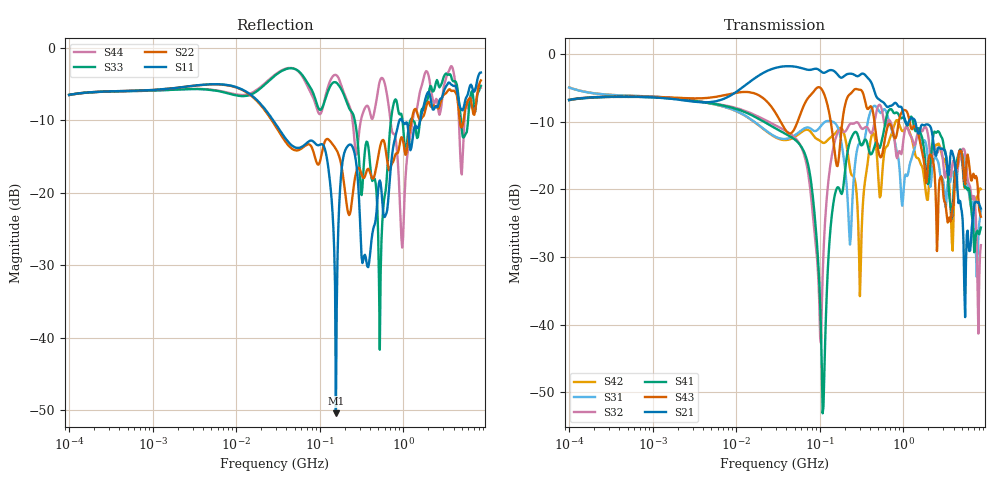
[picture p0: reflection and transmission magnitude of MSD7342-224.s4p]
# MHz S MA R 50
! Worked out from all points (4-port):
!   498 points, 100 kHz to 8.5 GHz, reference 50 ohm
!   strongest paths, dB at 100 kHz, 1.698 MHz, 29.49 MHz, 500.7 MHz, 8.5 GHz:
!     S21: -6.7, -6.6, -2.0, -6.6, -22.8
!     S43: -6.7, -6.4, -8.6, -14.1, -24.0
!     S41: -6.8, -6.5, -10.9, -13.5, -25.6
!     S32: -6.8, -6.5, -10.5, -7.7, -28.2
!     S31: -4.9, -6.4, -12.2, -8.2, -23.1
!     S42: -4.9, -6.5, -12.3, -17.7, -20.0
!   lowest |S11| = -50.5 dB at 156.2 MHz (marker M1), VSWR 1.01, Z = 50.1 - j0.289 ohm
!   |S11| at or under -10 dB: 27.8 MHz to 899.7 MHz (871.9 MHz wide, 188 % of centre); 967.8 MHz to 1.597 GHz (629 MHz wide, 49 % of centre)
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0.1  0.4743 18.9  0.4605 19.4  0.568 -16.4  0.4582 -161.5
     0.4605 19.4  0.4745 18.9  0.4588 -161.5  0.5694 -16.4
     0.568 -16.4  0.4588 -161.5  0.4744 18.9  0.4607 19.2
     0.4582 -161.5  0.5694 -16.4  0.4607 19.2  0.4732 18.8
55.89621  0.2043 -36.7  0.8012 -9.6  0.2641 130.9  0.2201 -20.6
          0.8012 -9.6  0.1971 -39.3  0.2236 -17.5  0.2563 131.3
          0.2641 130.9  0.2236 -17.5  0.6923 -27.2  0.3327 8.5
          0.2201 -20.6  0.2563 131.3  0.3327 8.5  0.6871 -26.0
110.9003  0.2123 -67.3  0.7299 -23.6  0.3098 47.3  0.002471 129.7
          0.7299 -23.6  0.211 -44.8  0.03382 128.5  0.2211 42.4
          0.3098 47.3  0.03382 128.5  0.4061 -26.3  0.522 -40.1
          0.002471 129.7  0.2211 42.4  0.522 -40.1  0.4049 -11.8
156.2097  0.003002 -74.0  0.7321 -36.2  0.3046 -3.9  0.09793 70.7
          0.7321 -36.2  0.2009 -104.4  0.2426 58.8  0.2634 11.4
          0.3046 -3.9  0.2426 58.8  0.5788 -49.9  0.1612 -41.8
          0.09793 70.7  0.2634 11.4  0.1612 -41.8  0.6516 -39.0
524.0594  0.1219 -22.5  0.4596 -105.5  0.3729 -68.9  0.2032 -31.6
          0.4596 -105.5  0.2046 -13.7  0.4232 -66.7  0.08739 -54.1
          0.3729 -68.9  0.4232 -66.7  0.008253 -44.8  0.1757 -98.6
          0.2032 -31.6  0.08739 -54.1  0.1757 -98.6  0.5909 -80.8
1970.81  0.4947 121.2  0.3026 64.1  0.1663 52.8  0.1096 78.1
         0.3026 64.1  0.4242 120.4  0.258 58.3  0.08384 92.0
         0.1663 52.8  0.258 58.3  0.4499 119.2  0.1468 80.6
         0.1096 78.1  0.08384 92.0  0.1468 80.6  0.6695 96.6
8500  0.6779 -55.0  0.07225 32.7  0.06997 -14.1  0.05231 -21.7
      0.07225 32.7  0.5977 -65.1  0.03875 -39.2  0.1005 -80.9
      0.06997 -14.1  0.03875 -39.2  0.5477 -54.6  0.06287 -3.6
      0.05231 -21.7  0.1005 -80.9  0.06287 -3.6  0.5323 -78.1
